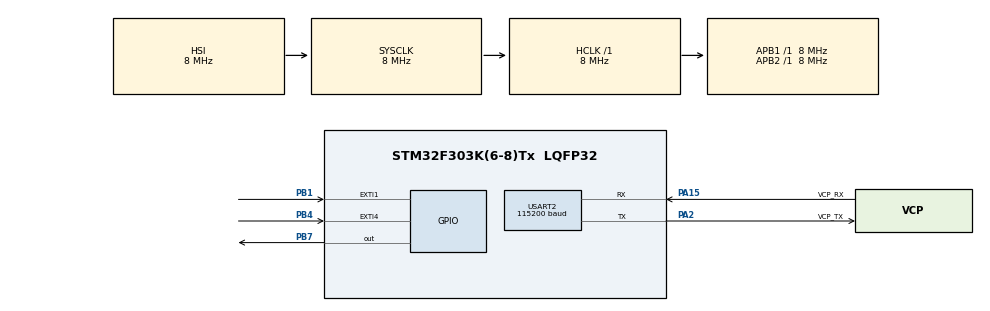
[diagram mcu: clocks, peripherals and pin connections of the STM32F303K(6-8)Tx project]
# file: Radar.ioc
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Mcu.Family=STM32F3
Mcu.Name=STM32F303K(6-8)Tx
Mcu.Package=LQFP32
NVIC.EXTI1_IRQn=true\:0\:0\:false\:false\:true\:true\:true\:true
NVIC.EXTI4_IRQn=true\:0\:0\:false\:false\:true\:true\:true\:true
NVIC.PriorityGroup=NVIC_PRIORITYGROUP_4
NVIC.TIM3_IRQn=true\:0\:0\:false\:false\:true\:true\:true\:true
NVIC.TIM6_DAC1_IRQn=true\:0\:0\:false\:false\:true\:true\:true\:true
NVIC.TIM7_DAC2_IRQn=true\:0\:0\:false\:false\:true\:true\:true\:true
NVIC.USART2_IRQn=true\:0\:0\:false\:false\:true\:true\:true\:true
PA13.GPIO_Label=SWDIO
PA13.Mode=Serial_Wire
PA13.Signal=SYS_JTMS-SWDIO
PA14.GPIO_Label=SWCLK
PA14.Mode=Serial_Wire
PA14.Signal=SYS_JTCK-SWCLK
PA15.GPIO_Label=VCP_RX
PA15.Mode=Asynchronous
PA15.Signal=USART2_RX
PA2.GPIO_Label=VCP_TX
PA2.Mode=Asynchronous
PA2.Signal=USART2_TX
PB1.GPIO_ModeDefaultEXTI=GPIO_MODE_IT_FALLING
PB1.Signal=GPXTI1
PB4.GPIO_ModeDefaultEXTI=GPIO_MODE_IT_FALLING
PB4.Signal=GPXTI4
PB7.Signal=GPIO_Output
PF0\ /\ OSC_IN.GPIO_Label=MCO
PF0\ /\ OSC_IN.Mode=HSE-External-Clock-Source
PF0\ /\ OSC_IN.Signal=RCC_OSC_IN
ProjectManager.HeapSize=0x200
ProjectManager.StackSize=0x400
ProjectManager.TargetToolchain=STM32CubeIDE
RCC.AHBFreq_Value=8000000
RCC.APB1Freq_Value=8000000
RCC.APB2Freq_Value=8000000
RCC.CortexFreq_Value=8000000
RCC.HSE_VALUE=8000000
RCC.HSI_VALUE=8000000
RCC.SYSCLKFreq_VALUE=8000000
TIM3.Period=499
TIM3.Prescaler=7999
TIM6.AutoReloadPreload=TIM_AUTORELOAD_PRELOAD_DISABLE
TIM6.Period=4999
TIM6.Prescaler=7999
TIM7.Period=99
TIM7.Prescaler=7999
USART2.BaudRate=115200
USART2.VirtualMode-Asynchronous=VM_ASYNC
VP_TIM3_VS_ClockSourceINT.Mode=Internal
VP_TIM6_VS_ClockSourceINT.Mode=Enable_Timer
VP_TIM7_VS_ClockSourceINT.Mode=Enable_Timer
board=NUCLEO-F303K8

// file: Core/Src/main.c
/* USER CODE BEGIN Header */
/**
  ******************************************************************************
  * @file           : main.c
  * @brief          : Main program body
  ******************************************************************************
  * @attention
  *
  * Copyright (c) 2024 STMicroelectronics.
  * All rights reserved.
  *
  * This software is licensed under terms that can be found in the LICENSE file
  * in the root directory of this software component.
  * If no LICENSE file comes with this software, it is provided AS-IS.
  *
  ******************************************************************************
  */
/* USER CODE END Header */
#include "main.h"

TIM_HandleTypeDef htim3;
TIM_HandleTypeDef htim6;
TIM_HandleTypeDef htim7;

UART_HandleTypeDef huart2;

/* USER CODE BEGIN PV */
volatile int16_t time = 0;
volatile uint16_t maxSpeed = 0;
uint8_t receiveBufferSize = 10;
char receiveBuffer[10];
float distance = 5; //metros
/* USER CODE END PV */

void SystemClock_Config(void);
static void MX_GPIO_Init(void);
static void MX_USART2_UART_Init(void);
static void MX_TIM6_Init(void);
static void MX_TIM7_Init(void);
static void MX_TIM3_Init(void);
/* USER CODE BEGIN PFP */
float calculate_speed(int16_t time);
/* USER CODE END PFP */

int main(void)
{

  /* MCU Configuration--------------------------------------------------------*/

  /* Reset of all peripherals, Initializes the Flash interface and the Systick. */
  HAL_Init();

  /* Configure the system clock */
  SystemClock_Config();

  /* Initialize all configured peripherals */
  MX_GPIO_Init();
  MX_USART2_UART_Init();
  MX_TIM6_Init();
  MX_TIM7_Init();
  MX_TIM3_Init();
  /* USER CODE BEGIN 2 */
  char* saludo = "Nueva sesion:\n\r";
  HAL_UART_Transmit_IT(&huart2, (uint8_t*) saludo, strlen(saludo));
  HAL_TIM_Base_Start_IT(&htim6);

  HAL_UART_Receive_IT(&huart2, receiveBuffer, receiveBufferSize);
  /* USER CODE END 2 */

  /* Infinite loop */
  /* USER CODE BEGIN WHILE */
  while (1)
  {
	  if (time != 0) {
		  char buffer[20];
		  float speed = calculate_speed(time);
		  uint8_t isSpeeding = speed > maxSpeed;
		  if (isSpeeding) {
			  HAL_GPIO_WritePin(GPIOB, GPIO_PIN_7, 1);
			  HAL_TIM_Base_Start_IT(&htim3);
		  }
		  sprintf(buffer, "%ds-%.3fcm/s-%d\n\r", time, speed, isSpeeding);
		  HAL_UART_Transmit_IT(&huart2, (uint8_t*) buffer, strlen(buffer));
		  time = 0;
	  }

    /* USER CODE END WHILE */

  }
}

void SystemClock_Config(void)
{
  RCC_OscInitTypeDef RCC_OscInitStruct = {0};
  RCC_ClkInitTypeDef RCC_ClkInitStruct = {0};

  /** Initializes the RCC Oscillators according to the specified parameters
  * in the RCC_OscInitTypeDef structure.
  */
  RCC_OscInitStruct.OscillatorType = RCC_OSCILLATORTYPE_HSI;
  RCC_OscInitStruct.HSIState = RCC_HSI_ON;
  RCC_OscInitStruct.HSICalibrationValue = RCC_HSICALIBRATION_DEFAULT;
  RCC_OscInitStruct.PLL.PLLState = RCC_PLL_NONE;
  if (HAL_RCC_OscConfig(&RCC_OscInitStruct) != HAL_OK)
  {
    Error_Handler();
  }

  /** Initializes the CPU, AHB and APB buses clocks
  */
  RCC_ClkInitStruct.ClockType = RCC_CLOCKTYPE_HCLK|RCC_CLOCKTYPE_SYSCLK
                              |RCC_CLOCKTYPE_PCLK1|RCC_CLOCKTYPE_PCLK2;
  RCC_ClkInitStruct.SYSCLKSource = RCC_SYSCLKSOURCE_HSI;
  RCC_ClkInitStruct.AHBCLKDivider = RCC_SYSCLK_DIV1;
  RCC_ClkInitStruct.APB1CLKDivider = RCC_HCLK_DIV1;
  RCC_ClkInitStruct.APB2CLKDivider = RCC_HCLK_DIV1;

  if (HAL_RCC_ClockConfig(&RCC_ClkInitStruct, FLASH_LATENCY_0) != HAL_OK)
  {
    Error_Handler();
  }
}

static void MX_TIM3_Init(void)
{

  TIM_ClockConfigTypeDef sClockSourceConfig = {0};
  TIM_MasterConfigTypeDef sMasterConfig = {0};

  htim3.Instance = TIM3;
  htim3.Init.Prescaler = 7999;
  htim3.Init.CounterMode = TIM_COUNTERMODE_UP;
  htim3.Init.Period = 499;
  htim3.Init.ClockDivision = TIM_CLOCKDIVISION_DIV1;
  htim3.Init.AutoReloadPreload = TIM_AUTORELOAD_PRELOAD_DISABLE;
  if (HAL_TIM_Base_Init(&htim3) != HAL_OK)
  {
    Error_Handler();
  }
  sClockSourceConfig.ClockSource = TIM_CLOCKSOURCE_INTERNAL;
  if (HAL_TIM_ConfigClockSource(&htim3, &sClockSourceConfig) != HAL_OK)
  {
    Error_Handler();
  }
  sMasterConfig.MasterOutputTrigger = TIM_TRGO_RESET;
  sMasterConfig.MasterSlaveMode = TIM_MASTERSLAVEMODE_DISABLE;
  if (HAL_TIMEx_MasterConfigSynchronization(&htim3, &sMasterConfig) != HAL_OK)
  {
    Error_Handler();
  }

}

static void MX_TIM6_Init(void)
{

  TIM_MasterConfigTypeDef sMasterConfig = {0};

  htim6.Instance = TIM6;
  htim6.Init.Prescaler = 7999;
  htim6.Init.CounterMode = TIM_COUNTERMODE_UP;
  htim6.Init.Period = 4999;
  htim6.Init.AutoReloadPreload = TIM_AUTORELOAD_PRELOAD_DISABLE;
  if (HAL_TIM_Base_Init(&htim6) != HAL_OK)
  {
    Error_Handler();
  }
  sMasterConfig.MasterOutputTrigger = TIM_TRGO_RESET;
  sMasterConfig.MasterSlaveMode = TIM_MASTERSLAVEMODE_DISABLE;
  if (HAL_TIMEx_MasterConfigSynchronization(&htim6, &sMasterConfig) != HAL_OK)
  {
    Error_Handler();
  }

}

static void MX_TIM7_Init(void)
{

  TIM_MasterConfigTypeDef sMasterConfig = {0};

  htim7.Instance = TIM7;
  htim7.Init.Prescaler = 7999;
  htim7.Init.CounterMode = TIM_COUNTERMODE_UP;
  htim7.Init.Period = 99;
  htim7.Init.AutoReloadPreload = TIM_AUTORELOAD_PRELOAD_DISABLE;
  if (HAL_TIM_Base_Init(&htim7) != HAL_OK)
  {
    Error_Handler();
  }
  sMasterConfig.MasterOutputTrigger = TIM_TRGO_RESET;
  sMasterConfig.MasterSlaveMode = TIM_MASTERSLAVEMODE_DISABLE;
  if (HAL_TIMEx_MasterConfigSynchronization(&htim7, &sMasterConfig) != HAL_OK)
  {
    Error_Handler();
  }

}

static void MX_USART2_UART_Init(void)
{

  huart2.Instance = USART2;
  huart2.Init.BaudRate = 115200;
  huart2.Init.WordLength = UART_WORDLENGTH_8B;
  huart2.Init.StopBits = UART_STOPBITS_1;
  huart2.Init.Parity = UART_PARITY_NONE;
  huart2.Init.Mode = UART_MODE_TX_RX;
  huart2.Init.HwFlowCtl = UART_HWCONTROL_NONE;
  huart2.Init.OverSampling = UART_OVERSAMPLING_16;
  huart2.Init.OneBitSampling = UART_ONE_BIT_SAMPLE_DISABLE;
  huart2.AdvancedInit.AdvFeatureInit = UART_ADVFEATURE_NO_INIT;
  if (HAL_UART_Init(&huart2) != HAL_OK)
  {
    Error_Handler();
  }

}

static void MX_GPIO_Init(void)
{
  GPIO_InitTypeDef GPIO_InitStruct = {0};

  /* GPIO Ports Clock Enable */
  __HAL_RCC_GPIOF_CLK_ENABLE();
  __HAL_RCC_GPIOA_CLK_ENABLE();
  __HAL_RCC_GPIOB_CLK_ENABLE();

  /*Configure GPIO pin Output Level */
  HAL_GPIO_WritePin(GPIOB, GPIO_PIN_7, GPIO_PIN_RESET);

  /*Configure GPIO pins : PB1 PB4 */
  GPIO_InitStruct.Pin = GPIO_PIN_1|GPIO_PIN_4;
  GPIO_InitStruct.Mode = GPIO_MODE_IT_FALLING;
  GPIO_InitStruct.Pull = GPIO_NOPULL;
  HAL_GPIO_Init(GPIOB, &GPIO_InitStruct);

  /*Configure GPIO pin : PB7 */
  GPIO_InitStruct.Pin = GPIO_PIN_7;
  GPIO_InitStruct.Mode = GPIO_MODE_OUTPUT_PP;
  GPIO_InitStruct.Pull = GPIO_NOPULL;
  GPIO_InitStruct.Speed = GPIO_SPEED_FREQ_LOW;
  HAL_GPIO_Init(GPIOB, &GPIO_InitStruct);

  /* EXTI interrupt init*/
  HAL_NVIC_SetPriority(EXTI1_IRQn, 0, 0);
  HAL_NVIC_EnableIRQ(EXTI1_IRQn);

  HAL_NVIC_SetPriority(EXTI4_IRQn, 0, 0);
  HAL_NVIC_EnableIRQ(EXTI4_IRQn);

}

/* USER CODE BEGIN 4 */
float calculate_speed(int16_t time)  {
	float newTime = ((float)time) / 1000;
	float speed = distance / newTime;
	return speed;
}

void HAL_UART_RxCpltCallback(UART_HandleTypeDef *huart) {

	maxSpeed = atoi(receiveBuffer);
	HAL_UART_Receive_IT(&huart2, receiveBuffer, receiveBufferSize);
}

/* USER CODE END 4 */

void Error_Handler(void)
{
  __disable_irq();
  while (1)
  {
  }
}
